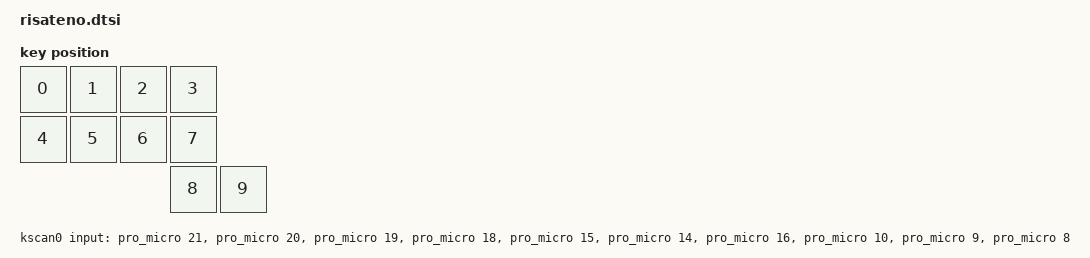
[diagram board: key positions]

#include <physical_layouts.dtsi>
#include <dt-bindings/zmk/matrix_transform.h>

/ {
    chosen {
        zmk,kscan = &kscan0;
        zmk,physical-layout = &default_layout;
    };

    kscan0: kscan {
        compatible = "zmk,kscan-gpio-direct";
        wakeup-source;
        input-gpios
            = <&pro_micro 21 (GPIO_ACTIVE_LOW | GPIO_PULL_UP)>
            , <&pro_micro 20 (GPIO_ACTIVE_LOW | GPIO_PULL_UP)>
            , <&pro_micro 19 (GPIO_ACTIVE_LOW | GPIO_PULL_UP)>
            , <&pro_micro 18 (GPIO_ACTIVE_LOW | GPIO_PULL_UP)>
            , <&pro_micro 15 (GPIO_ACTIVE_LOW | GPIO_PULL_UP)>
            , <&pro_micro 14 (GPIO_ACTIVE_LOW | GPIO_PULL_UP)>
            , <&pro_micro 16 (GPIO_ACTIVE_LOW | GPIO_PULL_UP)>
            , <&pro_micro 10 (GPIO_ACTIVE_LOW | GPIO_PULL_UP)>
            , <&pro_micro 9  (GPIO_ACTIVE_LOW | GPIO_PULL_UP)>
            , <&pro_micro 8  (GPIO_ACTIVE_LOW | GPIO_PULL_UP)>
            ;
    };

    default_layout: default_layout {
        compatible = "zmk,physical-layout";
        display-name = "10 keys";
        transform = <&default_transform>;
        keys  //                     w   h    x    y     rot    rx    ry
            = <&key_physical_attrs 100 100    0    0       0     0     0>
            , <&key_physical_attrs 100 100  100    0       0     0     0>
            , <&key_physical_attrs 100 100  200    0       0     0     0>
            , <&key_physical_attrs 100 100  300    0       0     0     0>
            , <&key_physical_attrs 100 100    0  100       0     0     0>
            , <&key_physical_attrs 100 100  100  100       0     0     0>
            , <&key_physical_attrs 100 100  200  100       0     0     0>
            , <&key_physical_attrs 100 100  300  100       0     0     0>
            , <&key_physical_attrs 100 100  300  200       0     0     0>
            , <&key_physical_attrs 100 100  400  200       0     0     0>
        ;
    };

    default_transform: keymap_transform_0 {
        compatible = "zmk,matrix-transform";
        rows = <1>;
        columns = <10>;
        map = <0 1 2 3 4 5 6 7 8 9>;
    };

};

